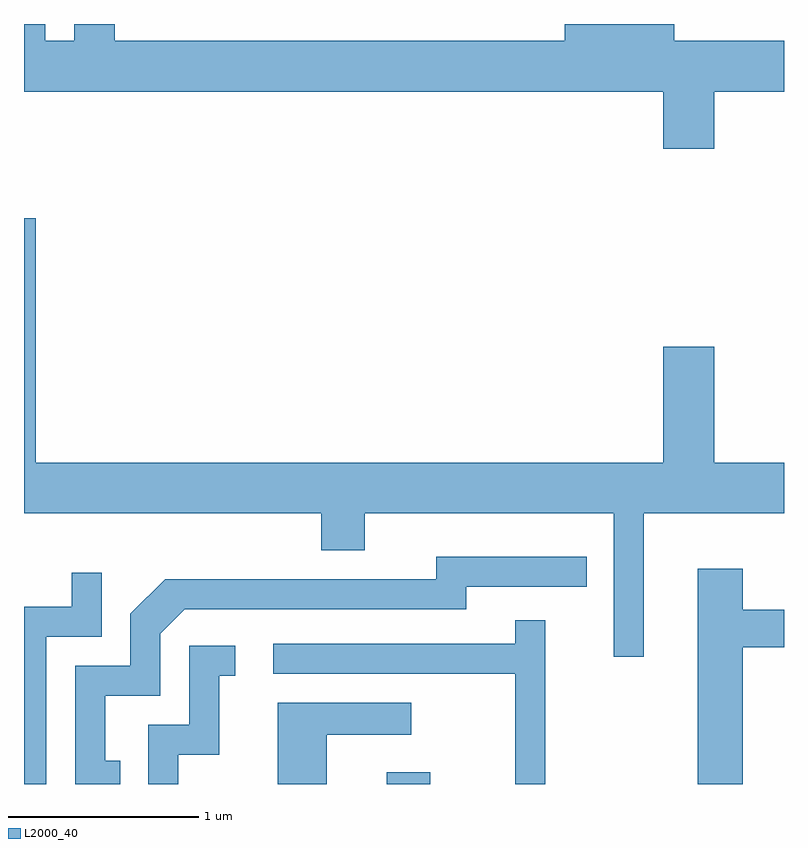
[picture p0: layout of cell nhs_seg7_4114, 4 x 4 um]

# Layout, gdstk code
import gdstk
lib = gdstk.Library(unit=1e-6, precision=1e-09)
def R(c, l, rs):  # rectangles x0, y0, x1, y1
    for r in rs: c.add(gdstk.rectangle(r[:2], r[2:], *l))
def P(c, l, *ps):  # polygons
    for p in ps: c.add(gdstk.Polygon(p, *l))
L2000_40 = (2000, 40)

nhs_seg7_4114 = lib.new_cell('nhs_seg7_4114')
R(nhs_seg7_4114, L2000_40, [(313.521,1686.252,313.749,1686.314)])
P(nhs_seg7_4114, L2000_40, [(315.244,1689.896),(315.611,1689.896),(315.611,1690.164),(315.034,1690.164),(315.034,1690.252),(314.456,1690.252),(314.456,1690.164),(312.089,1690.164),(312.089,1690.252),(311.876,1690.252),(311.876,1690.164),(311.724,1690.164),(311.724,1690.252),(311.611,1690.252),(311.611,1689.896),(314.976,1689.896),(314.976,1689.596),(315.244,1689.596)],
  [(314.874,1687.676),(315.611,1687.676),(315.611,1687.944),(315.244,1687.944),(315.244,1688.554),(314.976,1688.554),(314.976,1687.944),(311.674,1687.944),(311.674,1689.229),(311.611,1689.229),(311.611,1687.676),(313.176,1687.676),(313.176,1687.481),(313.404,1687.481),(313.404,1687.676),(314.716,1687.676),(314.716,1686.923),(314.874,1686.923)],
  [(312.118,1686.374),(312.039,1686.374),(312.039,1686.716),(312.329,1686.716),(312.329,1687.044),(312.457,1687.171),(313.939,1687.171),(313.939,1687.291),(314.573,1687.291),(314.573,1687.449),(313.781,1687.449),(313.781,1687.329),(312.354,1687.329),(312.171,1687.147),(312.171,1686.874),(311.881,1686.874),(311.881,1686.252),(312.118,1686.252)],
  [(315.394,1686.971),(315.611,1686.971),(315.611,1687.169),(315.394,1687.169),(315.394,1687.384),(315.156,1687.384),(315.156,1686.252),(315.394,1686.252)],
  [(311.729,1687.026),(312.019,1687.026),(312.019,1687.363),(311.861,1687.363),(311.861,1687.184),(311.611,1687.184),(311.611,1686.252),(311.729,1686.252)],
  [(314.354,1687.113),(314.196,1687.113),(314.196,1686.989),(312.923,1686.989),(312.923,1686.831),(314.196,1686.831),(314.196,1686.252),(314.354,1686.252)],
  [(312.424,1686.406),(312.639,1686.406),(312.639,1686.821),(312.723,1686.821),(312.723,1686.979),(312.481,1686.979),(312.481,1686.564),(312.266,1686.564),(312.266,1686.252),(312.424,1686.252)],
  [(313.204,1686.511),(313.648,1686.511),(313.648,1686.679),(312.946,1686.679),(312.946,1686.252),(313.204,1686.252)])

lib.write_gds('nhs_seg7_4114.gds')
